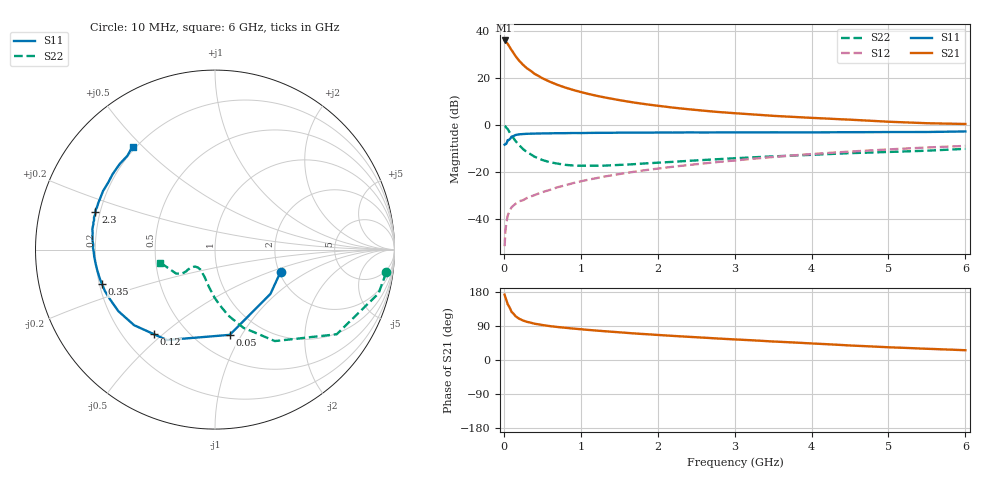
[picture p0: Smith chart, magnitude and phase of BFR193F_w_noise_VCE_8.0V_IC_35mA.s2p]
! Infineon Technologies  Discrete & RF Semiconductors
! BFR193F
! VCE =  8.0 V,  IC =  35 mA
! Common Emitter S-Parameters:  Jan 2017
# GHz  S  MA  R  50
!  f  S11  S21  S12  S22
! GHz  MAG  ANG  MAG  ANG  MAG  ANG  MAG  ANG
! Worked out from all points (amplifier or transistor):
!   77 points, 10 MHz to 6 GHz, reference 50 ohm
!   highest |S21| = 35.9 dB at 10 MHz (marker M1)
!   |S21| within 3 dB of that: start of sweep to 79.24 MHz
!   unconditionally stable (mu >= 1): 1.131 GHz to 2.641 GHz
!   at 130 MHz: K = 0.39, MSG = 32.2 dB, |S12| = -34.0 dB
!   at 2.2 GHz: K = 1.02, MAG = 11.8 dB, |S12| = -17.7 dB
!   at 6 GHz: K = 0.85, MSG = 4.7 dB, |S12| = -8.8 dB
!   lowest NFmin = 1.26 dB at 450 MHz
!   S11 on the Smith chart (normalised r, x): 10 MHz: 2.03, -0.59; 50 MHz: 0.72, -0.89; 120 MHz: 0.33, -0.47; 350 MHz: 0.21, -0.14; 2.3 GHz: 0.18, +0.15; 6 GHz: 0.19, +0.47
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0.01  0.3858 -18.8  62.65 172.5  0.0027 91.3  0.9627 -7.6
0.02  0.3954 -38.6  60.94 165.2  0.0056 76.5  0.9432 -15.0
0.05  0.482 -80.2  53.28 147.1  0.012 63.5  0.8262 -34.8
0.1  0.5707 -118.0  39.2 127.0  0.018 54.8  0.609 -56.8
0.12  0.5814 -125.9  35.15 123.3  0.0193 52.9  0.5477 -61.2
0.15  0.6168 -136.9  29.45 115.8  0.0213 50.4  0.4638 -70.0
0.2  0.6384 -147.5  23.24 108.8  0.0242 49.1  0.3746 -78.6
0.25  0.6472 -154.7  19.02 104.2  0.0256 50.6  0.3096 -85.2
0.3  0.6556 -159.5  16.12 100.7  0.0284 52.8  0.2685 -90.4
0.35  0.6578 -162.9  14.18 98.5  0.0306 55.3  0.2403 -94.1
0.4  0.6623 -166.2  12.26 95.7  0.0328 57.4  0.2134 -98.7
0.5  0.6667 -170.6  9.9 92.3  0.0378 60.0  0.1822 -105.3
0.6  0.6704 -173.9  8.308 89.4  0.0423 62.3  0.1629 -110.9
0.8  0.6757 -178.9  6.259 85.0  0.0529 66.0  0.1436 -120.4
1.1  0.6837 176.0  4.592 79.4  0.0697 69.3  0.1381 -129.9
1.5  0.6921 170.8  3.397 73.1  0.0915 71.2  0.1432 -137.9
2.1  0.6966 164.3  2.464 64.9  0.1251 72.0  0.163 -142.6
2.3  0.6982 162.6  2.262 62.4  0.1366 72.1  0.1704 -143.1
3.1  0.7008 155.7  1.747 53.3  0.1841 71.1  0.2019 -143.0
4.1  0.7034 147.0  1.402 42.7  0.2495 67.7  0.2382 -145.7
5.1  0.7136 137.1  1.164 32.8  0.3112 62.6  0.2727 -156.0
6  0.7351 128.7  1.058 25.8  0.3623 57.5  0.314 -166.6
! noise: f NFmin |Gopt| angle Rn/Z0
0.45  1.26  0.42  178  0.06
0.9  1.35  0.44  178  0.07
1.9  1.9  0.58  -166  0.08
2.4  2.2  0.61  -157  0.12
